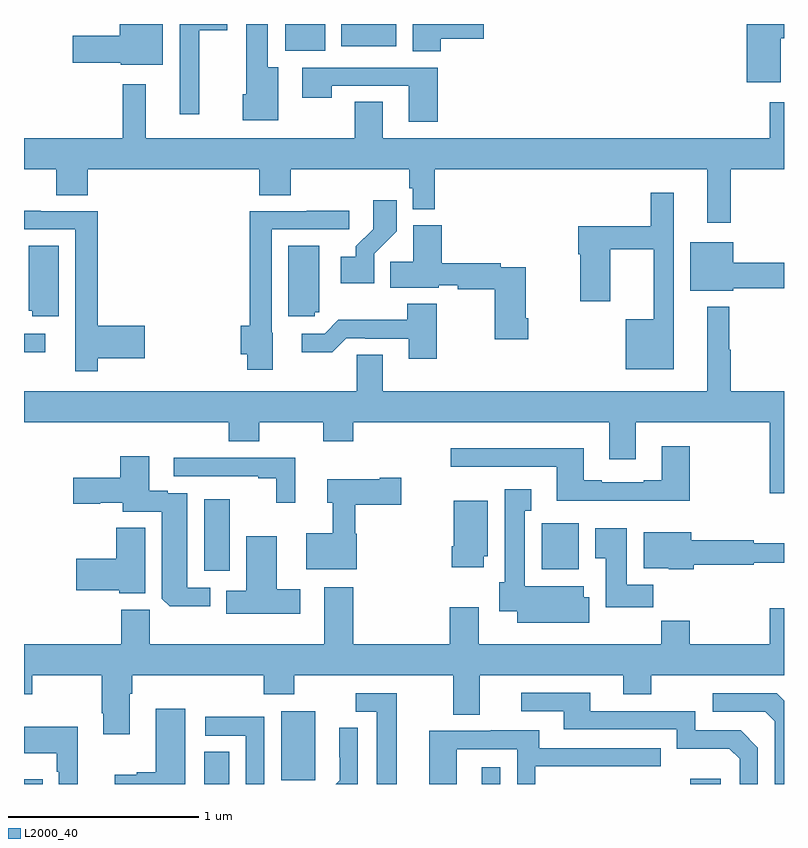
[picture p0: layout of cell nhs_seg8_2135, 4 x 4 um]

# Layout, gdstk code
import gdstk
lib = gdstk.Library(unit=1e-6, precision=1e-09)
def R(c, l, rs):  # rectangles x0, y0, x1, y1
    for r in rs: c.add(gdstk.rectangle(r[:2], r[2:], *l))
def P(c, l, *ps):  # polygons
    for p in ps: c.add(gdstk.Polygon(p, *l))
L2000_40 = (2000, 40)

nhs_seg8_2135 = lib.new_cell('nhs_seg8_2135')
R(nhs_seg8_2135, L2000_40, [(245,1143.9,245.099,1143.925), (245.948,1143.9,246.079,1144.07), (247.409,1143.9,247.506,1143.988), (248.507,1143.9,248.668,1143.928), (246.353,1143.921,246.532,1144.282), (245.948,1145.022,246.082,1145.398), (247.724,1145.03,247.921,1145.272), (245,1146.173,245.113,1146.27), (246.374,1147.76,246.586,1147.9), (246.671,1147.784,246.958,1147.9)])
P(nhs_seg8_2135, L2000_40, [(248.982,1147.824),(249,1147.824),(249,1147.9),(248.804,1147.9),(248.804,1147.593),(248.982,1147.593)],
  [(245.923,1147.868),(246.07,1147.868),(246.07,1147.9),(245.819,1147.9),(245.819,1147.425),(245.923,1147.425)],
  [(245.731,1147.9),(245.504,1147.9),(245.504,1147.838),(245.256,1147.838),(245.256,1147.696),(245.508,1147.696),(245.508,1147.685),(245.731,1147.685)],
  [(246.337,1147.672),(246.283,1147.672),(246.283,1147.9),(246.17,1147.9),(246.17,1147.53),(246.152,1147.53),(246.152,1147.394),(246.337,1147.394)],
  [(247.193,1147.823),(247.42,1147.823),(247.42,1147.9),(247.046,1147.9),(247.046,1147.756),(247.193,1147.756)],
  [(247.178,1147.671),(246.465,1147.671),(246.465,1147.512),(246.621,1147.512),(246.621,1147.575),(247.025,1147.575),(247.025,1147.386),(247.178,1147.386)],
  [(248.719,1147.136),(249,1147.136),(249,1147.489),(248.924,1147.489),(248.924,1147.3),(246.889,1147.3),(246.889,1147.49),(246.742,1147.49),(246.742,1147.3),(245.641,1147.3),(245.641,1147.582),(245.52,1147.582),(245.52,1147.3),(245,1147.3),(245,1147.136),(245.171,1147.136),(245.171,1147),(245.336,1147),(245.336,1147.136),(246.239,1147.136),(246.239,1147),(246.404,1147),(246.404,1147.136),(247.027,1147.136),(247.027,1147.035),(247.047,1147.035),(247.047,1146.926),(247.163,1146.926),(247.163,1147.136),(248.597,1147.136),(248.597,1146.855),(248.719,1146.855)],
  [(248.419,1147.012),(248.298,1147.012),(248.298,1146.835),(247.916,1146.835),(247.916,1146.689),(247.928,1146.689),(247.928,1146.441),(248.086,1146.441),(248.086,1146.714),(248.315,1146.714),(248.315,1146.346),(248.168,1146.346),(248.168,1146.083),(248.419,1146.083)],
  [(246.843,1146.691),(246.962,1146.81),(246.962,1146.973),(246.837,1146.973),(246.837,1146.821),(246.746,1146.731),(246.746,1146.676),(246.666,1146.676),(246.666,1146.536),(246.843,1146.536)],
  [(246.31,1146.276),(246.303,1146.276),(246.303,1146.819),(246.712,1146.819),(246.712,1146.918),(246.487,1146.918),(246.487,1146.915),(246.187,1146.915),(246.187,1146.311),(246.14,1146.311),(246.14,1146.162),(246.174,1146.162),(246.174,1146.08),(246.31,1146.08)],
  [(245.387,1146.14),(245.635,1146.14),(245.635,1146.311),(245.387,1146.311),(245.387,1146.915),(245.087,1146.915),(245.087,1146.918),(245,1146.918),(245,1146.819),(245.271,1146.819),(245.271,1146.294),(245.27,1146.294),(245.27,1146.072),(245.387,1146.072)],
  [(247.655,1146.352),(247.642,1146.352),(247.642,1146.621),(247.508,1146.621),(247.508,1146.641),(247.199,1146.641),(247.199,1146.841),(247.049,1146.841),(247.049,1146.65),(246.928,1146.65),(246.928,1146.512),(247.182,1146.512),(247.182,1146.525),(247.282,1146.525),(247.282,1146.505),(247.477,1146.505),(247.477,1146.24),(247.655,1146.24)],
  [(248.734,1146.508),(249,1146.508),(249,1146.644),(248.734,1146.644),(248.734,1146.751),(248.507,1146.751),(248.507,1146.497),(248.734,1146.497)],
  [(245.182,1146.734),(245.024,1146.734),(245.024,1146.39),(245.043,1146.39),(245.043,1146.363),(245.182,1146.363)],
  [(246.531,1146.384),(246.553,1146.384),(246.553,1146.733),(246.392,1146.733),(246.392,1146.363),(246.531,1146.363)],
  [(247.173,1146.427),(247.018,1146.427),(247.018,1146.343),(246.655,1146.343),(246.582,1146.27),(246.462,1146.27),(246.462,1146.173),(246.623,1146.173),(246.696,1146.246),(246.796,1146.246),(246.796,1146.243),(247.025,1146.243),(247.025,1146.138),(247.173,1146.138)],
  [(245,1145.804),(246.077,1145.804),(246.077,1145.705),(246.237,1145.705),(246.237,1145.804),(246.574,1145.804),(246.574,1145.705),(246.734,1145.705),(246.734,1145.804),(248.081,1145.804),(248.081,1145.61),(248.221,1145.61),(248.221,1145.804),(248.924,1145.804),(248.924,1145.43),(249,1145.43),(249,1145.968),(248.719,1145.968),(248.719,1146.185),(248.711,1146.185),(248.711,1146.412),(248.597,1146.412),(248.597,1145.968),(246.889,1145.968),(246.889,1146.158),(246.75,1146.158),(246.75,1145.968),(245,1145.968)],
  [(248.505,1145.677),(248.357,1145.677),(248.357,1145.5),(248.261,1145.5),(248.261,1145.487),(248.041,1145.487),(248.041,1145.5),(247.945,1145.5),(247.945,1145.668),(247.245,1145.668),(247.245,1145.571),(247.805,1145.571),(247.805,1145.39),(248.505,1145.39)],
  [(245.979,1144.932),(245.86,1144.932),(245.86,1145.43),(245.756,1145.43),(245.756,1145.443),(245.659,1145.443),(245.659,1145.626),(245.507,1145.626),(245.507,1145.511),(245.259,1145.511),(245.259,1145.374),(245.402,1145.374),(245.402,1145.381),(245.519,1145.381),(245.519,1145.334),(245.726,1145.334),(245.726,1144.876),(245.768,1144.835),(245.979,1144.835)],
  [(246.427,1145.616),(245.787,1145.616),(245.787,1145.52),(246.233,1145.52),(246.233,1145.508),(246.328,1145.508),(246.328,1145.379),(246.427,1145.379)],
  [(246.751,1145.217),(246.743,1145.217),(246.743,1145.369),(246.985,1145.369),(246.985,1145.511),(246.872,1145.511),(246.872,1145.503),(246.596,1145.503),(246.596,1145.381),(246.626,1145.381),(246.626,1145.221),(246.485,1145.221),(246.485,1145.03),(246.751,1145.03)],
  [(247.975,1144.883),(247.945,1144.883),(247.945,1144.942),(247.636,1144.942),(247.636,1145.339),(247.669,1145.339),(247.669,1145.452),(247.529,1145.452),(247.529,1144.962),(247.502,1144.962),(247.502,1144.808),(247.595,1144.808),(247.595,1144.748),(247.975,1144.748)],
  [(247.42,1145.1),(247.441,1145.1),(247.441,1145.392),(247.262,1145.392),(247.262,1145.152),(247.25,1145.152),(247.25,1145.04),(247.42,1145.04)],
  [(245.638,1145.249),(245.486,1145.249),(245.486,1145.085),(245.274,1145.085),(245.274,1144.919),(245.502,1144.919),(245.502,1144.904),(245.638,1144.904)],
  [(248.312,1144.948),(248.173,1144.948),(248.173,1145.245),(248.006,1145.245),(248.006,1145.089),(248.063,1145.089),(248.063,1144.83),(248.312,1144.83)],
  [(248.525,1145.055),(248.842,1145.055),(248.842,1145.065),(249,1145.065),(249,1145.168),(248.842,1145.168),(248.842,1145.183),(248.512,1145.183),(248.512,1145.224),(248.261,1145.224),(248.261,1145.036),(248.394,1145.036),(248.394,1145.03),(248.525,1145.03)],
  [(246.454,1144.926),(246.331,1144.926),(246.331,1145.203),(246.17,1145.203),(246.17,1144.918),(246.064,1144.918),(246.064,1144.796),(246.454,1144.796)],
  [(246.263,1144.373),(246.423,1144.373),(246.423,1144.472),(247.259,1144.472),(247.259,1144.264),(247.399,1144.264),(247.399,1144.472),(248.153,1144.472),(248.153,1144.373),(248.301,1144.373),(248.301,1144.472),(249,1144.472),(249,1144.825),(248.924,1144.825),(248.924,1144.636),(248.505,1144.636),(248.505,1144.76),(248.353,1144.76),(248.353,1144.636),(247.393,1144.636),(247.393,1144.831),(247.241,1144.831),(247.241,1144.636),(246.734,1144.636),(246.734,1144.936),(246.581,1144.936),(246.581,1144.636),(245.663,1144.636),(245.663,1144.818),(245.513,1144.818),(245.513,1144.636),(245,1144.636),(245,1144.373),(245.043,1144.373),(245.043,1144.472),(245.41,1144.472),(245.41,1144.273),(245.417,1144.273),(245.417,1144.161),(245.557,1144.161),(245.557,1144.376),(245.57,1144.376),(245.57,1144.472),(246.263,1144.472)],
  [(248.862,1144.092),(248.772,1144.182),(248.532,1144.182),(248.532,1144.284),(247.981,1144.284),(247.981,1144.38),(247.617,1144.38),(247.617,1144.284),(247.841,1144.284),(247.841,1144.188),(248.436,1144.188),(248.436,1144.085),(248.713,1144.085),(248.766,1144.032),(248.766,1143.9),(248.862,1143.9)],
  [(249,1144.338),(248.961,1144.377),(248.625,1144.377),(248.625,1144.281),(248.901,1144.281),(248.952,1144.23),(248.952,1143.9),(249,1143.9)],
  [(246.961,1144.377),(246.747,1144.377),(246.747,1144.281),(246.857,1144.281),(246.857,1143.9),(246.961,1143.9)],
  [(245.848,1144.297),(245.693,1144.297),(245.693,1143.962),(245.594,1143.962),(245.594,1143.949),(245.478,1143.949),(245.478,1143.9),(245.848,1143.9)],
  [(246.264,1144.254),(245.955,1144.254),(245.955,1144.155),(246.168,1144.155),(246.168,1143.9),(246.264,1143.9)],
  [(245.282,1144.201),(245,1144.201),(245,1144.061),(245.172,1144.061),(245.172,1143.965),(245.184,1143.965),(245.184,1143.9),(245.282,1143.9)],
  [(246.756,1144.196),(246.66,1144.196),(246.66,1144.042),(246.662,1144.042),(246.662,1143.92),(246.642,1143.9),(246.756,1143.9)],
  [(247.278,1144.083),(247.596,1144.083),(247.596,1143.9),(247.692,1143.9),(247.692,1143.993),(248.351,1143.993),(248.351,1144.089),(247.711,1144.089),(247.711,1144.183),(247.457,1144.183),(247.457,1144.179),(247.133,1144.179),(247.133,1143.9),(247.278,1143.9)])

lib.write_gds('nhs_seg8_2135.gds')
